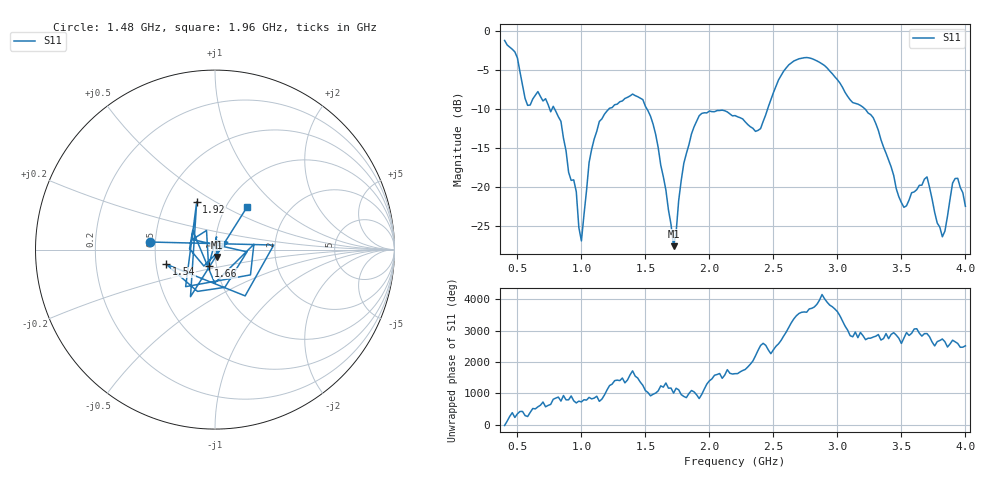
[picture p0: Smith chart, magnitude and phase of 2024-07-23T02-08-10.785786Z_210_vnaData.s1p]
!Created with skrf (http://scikit-rf.org).
# Hz S RI R 50.0
!freq ReS11 ImS11
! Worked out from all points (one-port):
!   181 points, 400 MHz to 4 GHz, reference 50 ohm
!   lowest |S11| = -27.5 dB at 1.72 GHz (marker M1), VSWR 1.09, Z = 50.9 - j4.14 ohm
!   |S11| at or under -10 dB: 790.1 MHz to 1.215 GHz (425.3 MHz wide, 42.4 % of centre); 1.512 GHz to 2.455 GHz (943.6 MHz wide, 47.6 % of centre); 3.215 GHz to end of sweep (the widest 3 of 4)
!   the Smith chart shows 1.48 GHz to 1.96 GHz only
!   S11 on the Smith chart (normalised r, x): 1.48 GHz: 0.47, +0.05; 1.54 GHz: 0.57, -0.10; 1.66 GHz: 0.92, -0.16; 1.92 GHz: 0.71, +0.42; 1.96 GHz: 1.25, +0.65
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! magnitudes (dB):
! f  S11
! 400 MHz  -1.3
! 500 MHz  -3.5
! 580 MHz  -9.6
! 660 MHz  -7.8
! 860 MHz  -13.8
! 960 MHz  -20.6
! 1 GHz  -26.9
! 1.06 GHz  -16.9
! 1.1 GHz  -13.9
! 1.3 GHz  -9.1
! 1.48 GHz  -8.8
! 1.54 GHz  -10.9
! 1.66 GHz  -20.4
! 1.72 GHz  -27.5
! 1.76 GHz  -21.7
! 1.92 GHz  -10.9
! 1.96 GHz  -10.5
! 2.2 GHz  -10.9
! 2.4 GHz  -12.5
! 2.66 GHz  -3.9
! 3.1 GHz  -8.9
! 3.28 GHz  -11.1
! 3.48 GHz  -21.2
! 3.56 GHz  -21.6
! 3.7 GHz  -18.7
! 3.82 GHz  -26.3
! 3.92 GHz  -18.9
! 4 GHz  -22.5
